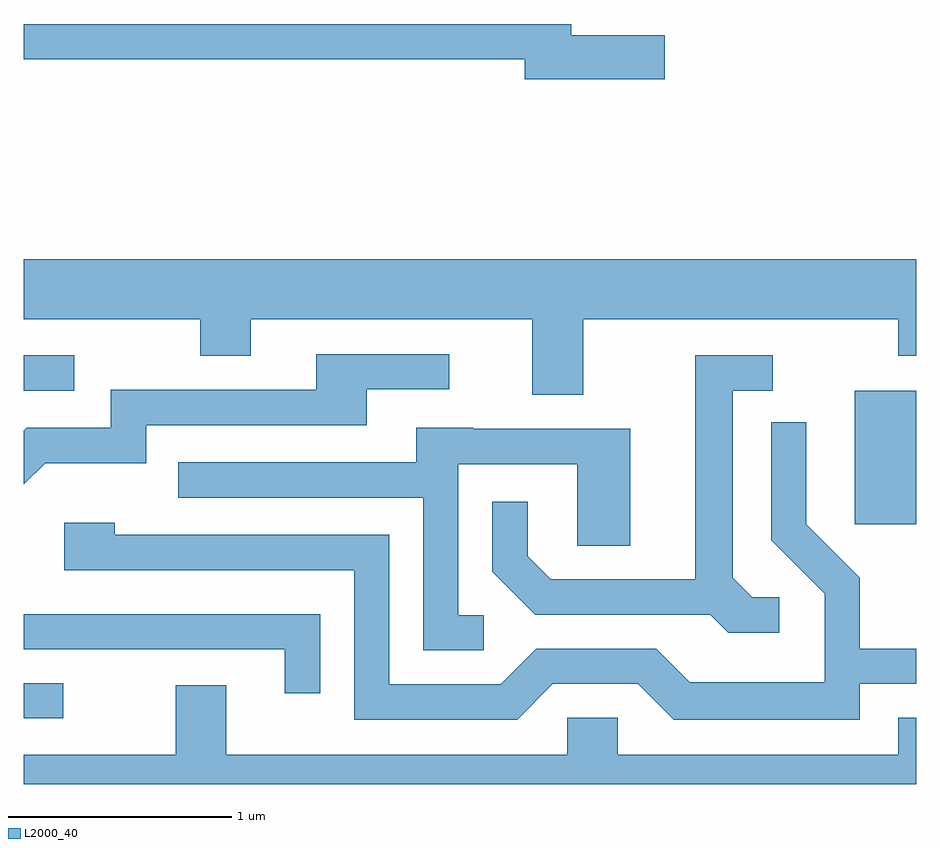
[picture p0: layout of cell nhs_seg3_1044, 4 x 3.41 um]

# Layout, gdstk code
import gdstk
lib = gdstk.Library(unit=1e-6, precision=1e-09)
def R(c, l, rs):  # rectangles x0, y0, x1, y1
    for r in rs: c.add(gdstk.rectangle(r[:2], r[2:], *l))
def P(c, l, *ps):  # polygons
    for p in ps: c.add(gdstk.Polygon(p, *l))
L2000_40 = (2000, 40)

nhs_seg3_1044 = lib.new_cell('nhs_seg3_1044')
R(nhs_seg3_1044, L2000_40, [(215.611,1164.186,215.788,1164.344), (219.336,1165.056,219.611,1165.654), (215.611,1165.656,215.838,1165.814)])
P(nhs_seg3_1044, L2000_40, [(218.484,1167.249),(218.064,1167.249),(218.064,1167.299),(215.611,1167.299),(215.611,1167.141),(217.856,1167.141),(217.856,1167.051),(218.484,1167.051)],
  [(218.119,1165.976),(219.531,1165.976),(219.531,1165.811),(219.611,1165.811),(219.611,1166.244),(215.611,1166.244),(215.611,1165.976),(216.401,1165.976),(216.401,1165.811),(216.629,1165.811),(216.629,1165.976),(217.891,1165.976),(217.891,1165.636),(218.119,1165.636)],
  [(215.707,1165.331),(216.159,1165.331),(216.159,1165.501),(217.149,1165.501),(217.149,1165.661),(217.518,1165.661),(217.518,1165.819),(216.921,1165.819),(216.921,1165.659),(216.001,1165.659),(216.001,1165.489),(215.624,1165.489),(215.611,1165.476),(215.611,1165.236)],
  [(218.998,1164.729),(218.877,1164.729),(218.789,1164.817),(218.789,1165.656),(218.968,1165.656),(218.968,1165.814),(218.621,1165.814),(218.621,1164.809),(217.972,1164.809),(217.869,1164.912),(217.869,1165.158),(217.711,1165.158),(217.711,1164.844),(217.904,1164.651),(218.689,1164.651),(218.769,1164.571),(218.998,1164.571)],
  [(217.982,1164.341),(218.364,1164.341),(218.524,1164.181),(219.359,1164.181),(219.359,1164.341),(219.611,1164.341),(219.611,1164.499),(219.359,1164.499),(219.359,1164.817),(219.119,1165.057),(219.119,1165.513),(218.961,1165.513),(218.961,1164.984),(219.201,1164.744),(219.201,1164.349),(218.597,1164.349),(218.447,1164.499),(217.909,1164.499),(217.749,1164.339),(217.249,1164.339),(217.249,1165.009),(216.019,1165.009),(216.019,1165.064),(215.791,1165.064),(215.791,1164.851),(217.091,1164.851),(217.091,1164.181),(217.822,1164.181)],
  [(217.673,1164.649),(217.559,1164.649),(217.559,1165.326),(218.091,1165.326),(218.091,1164.961),(218.329,1164.961),(218.329,1165.484),(217.625,1165.484),(217.625,1165.489),(217.371,1165.489),(217.371,1165.334),(216.303,1165.334),(216.303,1165.176),(217.401,1165.176),(217.401,1164.491),(217.673,1164.491)],
  [(216.939,1164.654),(215.611,1164.654),(215.611,1164.496),(216.781,1164.496),(216.781,1164.298),(216.939,1164.298)],
  [(219.611,1164.189),(219.531,1164.189),(219.531,1164.024),(218.274,1164.024),(218.274,1164.189),(218.046,1164.189),(218.046,1164.024),(216.519,1164.024),(216.519,1164.334),(216.291,1164.334),(216.291,1164.024),(215.611,1164.024),(215.611,1163.892),(219.611,1163.892)])

lib.write_gds('nhs_seg3_1044.gds')
